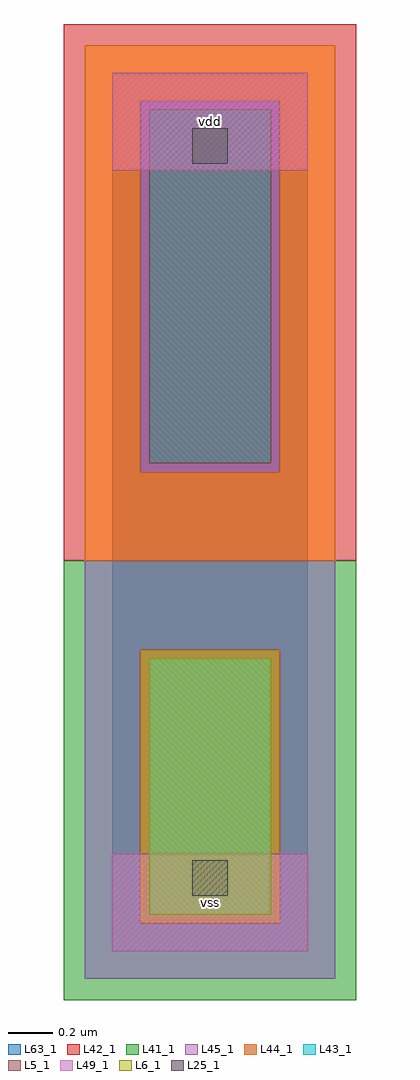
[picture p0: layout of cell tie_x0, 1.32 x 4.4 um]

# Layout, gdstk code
import gdstk
lib = gdstk.Library(unit=1e-6, precision=1e-09)
def R(c, l, rs):  # rectangles x0, y0, x1, y1
    for r in rs: c.add(gdstk.rectangle(r[:2], r[2:], *l))
L5_1 = (5, 1)
L6_1 = (6, 1)
L25_1 = (25, 1)
L41_1 = (41, 1)
L42_1 = (42, 1)
L43_1 = (43, 1)
L44_1 = (44, 1)
L45_1 = (45, 1)
L49_1 = (49, 1)
L63_1 = (63, 1)

tie_x0 = lib.new_cell('tie_x0')
R(tie_x0, L5_1, [(0.165,2.2,0.715,3.795)])
R(tie_x0, L6_1, [(0.165,0.165,0.715,1.32)])
R(tie_x0, L25_1, [(0.36,0.25,0.52,0.41), (0.36,3.55,0.52,3.71)])
R(tie_x0, L41_1, [(-0.22,-0.22,1.1,1.76)])
R(tie_x0, L42_1, [(-0.22,1.76,1.1,4.18)])
R(tie_x0, L43_1, [(0.165,0.165,0.715,1.32), (0.165,2.2,0.715,3.795)])
R(tie_x0, L44_1, [(0.125,0.125,0.755,1.36), (-0.125,1.76,1.005,2.16), (-0.125,2.16,0.125,3.835), (0.755,2.16,1.005,3.835), (-0.125,3.835,1.005,4.085)])
R(tie_x0, L45_1, [(-0.125,-0.125,1.005,0.125), (-0.125,0.125,0.125,1.36), (0.755,0.125,1.005,1.36), (-0.125,1.36,1.005,1.76), (0.125,2.16,0.755,3.835)])
R(tie_x0, L49_1, [(0,0,0.88,0.44), (0,3.52,0.88,3.96)])
R(tie_x0, L63_1, [(0,0,0.88,3.96)])
tie_x0.add(gdstk.Label('vss', (0.44,0.22), layer=49, texttype=1))
tie_x0.add(gdstk.Label('vdd', (0.44,3.74), layer=49, texttype=1))

lib.write_gds('tie_x0.gds')
